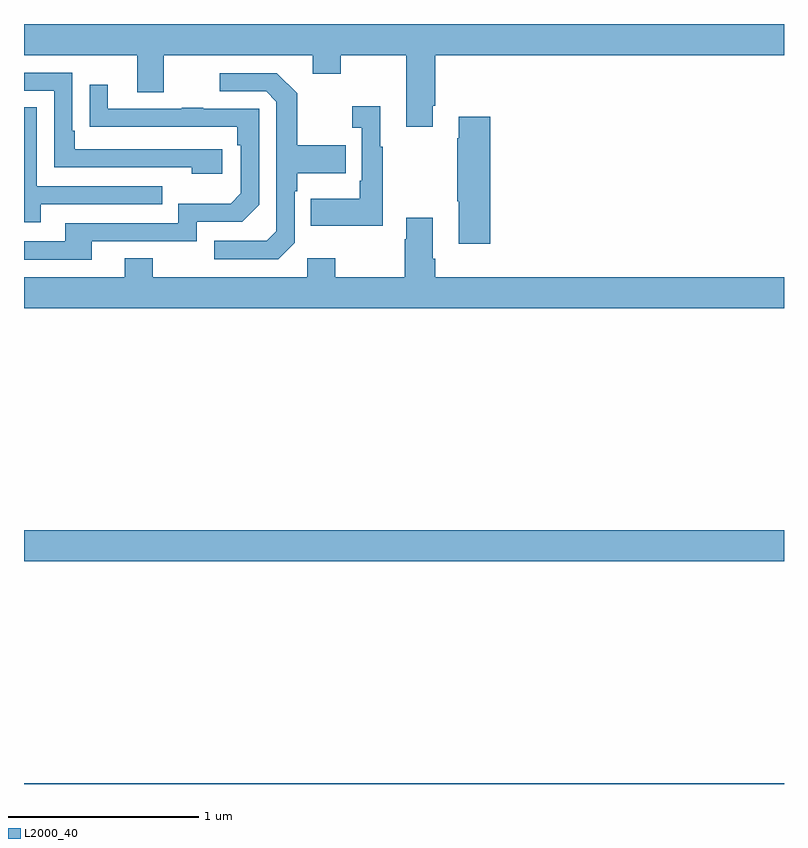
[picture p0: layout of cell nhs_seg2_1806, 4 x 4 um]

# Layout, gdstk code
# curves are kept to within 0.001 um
import gdstk
lib = gdstk.Library(unit=1e-6, precision=1e-09)
def R(c, l, rs):  # rectangles x0, y0, x1, y1
    for r in rs: c.add(gdstk.rectangle(r[:2], r[2:], *l))
def P(c, l, *ps):  # polygons
    for p in ps: c.add(gdstk.Polygon(p, *l))
L2000_40 = (2000, 40)

nhs_seg2_1806 = lib.new_cell('nhs_seg2_1806')
R(nhs_seg2_1806, L2000_40, [(205,643.8,209,643.804), (205,644.972,209,645.136)])
P(nhs_seg2_1806, L2000_40, [(207.151,647.371),(207.164,647.371),(207.164,647.636),(209,647.636),(209,647.8),(205,647.8),(205,647.636),(205.595,647.636),(205.595,647.442),(205.735,647.442),(205.735,647.636),(206.519,647.636),(206.519,647.537),(206.667,647.537),(206.667,647.636),(207.011,647.636),(207.011,647.259),(207.151,647.259)],
  [(206.044,647.142),(205.267,647.142),(205.267,647.239),(205.254,647.239),(205.254,647.544),(205,647.544),(205,647.448),(205.158,647.448),(205.158,647.046),(205.883,647.046),(205.883,647.012),(206.044,647.012)],
  [(206.424,646.65),(206.424,646.919),(206.437,646.919),(206.437,647.015),(206.693,647.015),(206.693,647.163),(206.437,647.163),(206.437,647.435),(206.331,647.541),(206.031,647.541),(206.031,647.445),(206.274,647.445),(206.328,647.391),(206.328,646.71),(206.277,646.659),(206.001,646.659),(206.001,646.563),(206.337,646.563)],
  [(205.357,646.656),(205.908,646.656),(205.908,646.758),(206.148,646.758),(206.238,646.848),(206.238,647.355),(205.943,647.355),(205.943,647.36),(205.831,647.36),(205.831,647.355),(205.441,647.355),(205.441,647.479),(205.345,647.479),(205.345,647.26),(206.122,647.259),(206.122,647.162),(206.142,647.162),(206.142,646.908),(206.089,646.855),(205.812,646.855),(205.812,646.752),(205.217,646.752),(205.217,646.656),(205,646.656),(205,646.56),(205.357,646.56)],
  [(206.887,647.155),(206.875,647.155),(206.875,647.368),(206.727,647.368),(206.727,647.255),(206.778,647.255),(206.778,646.975),(206.766,646.975),(206.766,646.879),(206.509,646.879),(206.509,646.739),(206.887,646.739)],
  [(205.087,646.851),(205.727,646.851),(205.727,646.947),(205.068,646.947),(205.068,647.363),(205,647.363),(205,646.757),(205.087,646.757)],
  [(207.455,647.311),(207.287,647.311),(207.287,647.198),(207.28,647.198),(207.28,646.867),(207.287,646.867),(207.287,646.644),(207.455,646.644)],
  [(209,646.468),(207.164,646.468),(207.164,646.564),(207.151,646.564),(207.151,646.78),(207.011,646.78),(207.011,646.667),(207.004,646.667),(207.004,646.468),(206.637,646.468),(206.637,646.567),(206.49,646.567),(206.49,646.468),(205.677,646.468),(205.677,646.567),(205.529,646.567),(205.529,646.468),(205,646.468),(205,646.304),(209,646.304)])

lib.write_gds('nhs_seg2_1806.gds')
